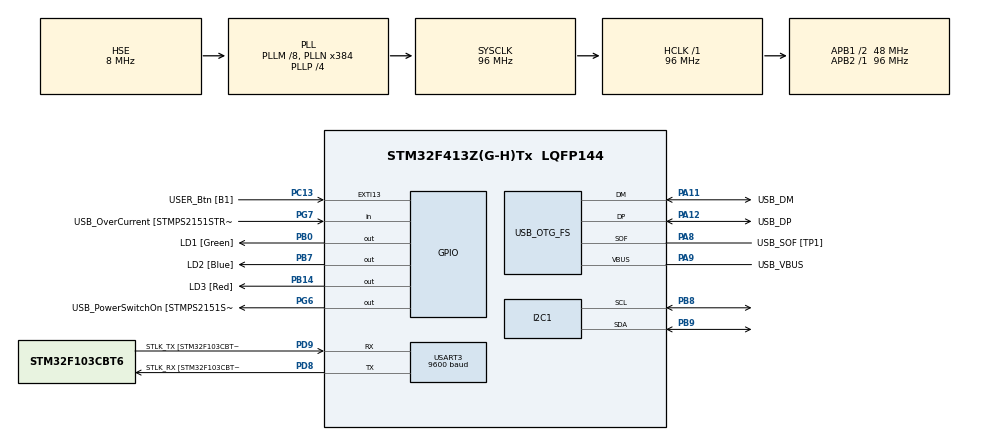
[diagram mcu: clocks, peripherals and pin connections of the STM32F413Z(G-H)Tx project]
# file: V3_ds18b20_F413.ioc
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Mcu.Family=STM32F4
Mcu.Name=STM32F413Z(G-H)Tx
Mcu.Package=LQFP144
NVIC.PriorityGroup=NVIC_PRIORITYGROUP_4
PA10.GPIO_Label=USB_ID
PA10.Signal=USB_OTG_FS_ID
PA11.GPIO_Label=USB_DM
PA11.Mode=Device_Only
PA11.Signal=USB_OTG_FS_DM
PA12.GPIO_Label=USB_DP
PA12.Mode=Device_Only
PA12.Signal=USB_OTG_FS_DP
PA13.GPIO_Label=TMS
PA13.Mode=Serial_Wire
PA13.Signal=SYS_JTMS-SWDIO
PA14.GPIO_Label=TCK
PA14.Mode=Serial_Wire
PA14.Signal=SYS_JTCK-SWCLK
PA8.GPIO_Label=USB_SOF [TP1]
PA8.Mode=Activate_SOF_FS
PA8.Signal=USB_OTG_FS_SOF
PA9.GPIO_Label=USB_VBUS
PA9.Mode=Activate_VBUS
PA9.Signal=USB_OTG_FS_VBUS
PB0.GPIO_Label=LD1 [Green]
PB0.Signal=GPIO_Output
PB14.GPIO_Label=LD3 [Red]
PB14.Signal=GPIO_Output
PB3.GPIO_Label=SWO
PB3.Signal=SYS_JTDO-SWO
PB7.GPIO_Label=LD2 [Blue]
PB7.Signal=GPIO_Output
PB8.Mode=I2C
PB8.Signal=I2C1_SCL
PB9.Mode=I2C
PB9.Signal=I2C1_SDA
PC13.GPIO_Label=USER_Btn [B1]
PC13.Signal=GPXTI13
PC14-OSC32_IN.Mode=LSE-External-Oscillator
PC14-OSC32_IN.Signal=RCC_OSC32_IN
PC15-OSC32_OUT.Mode=LSE-External-Oscillator
PC15-OSC32_OUT.Signal=RCC_OSC32_OUT
PD8.GPIO_Label=STLK_RX [STM32F103CBT6_PA3]
PD8.Mode=Asynchronous
PD8.Signal=USART3_TX
PD9.GPIO_Label=STLK_TX [STM32F103CBT6_PA2]
PD9.Mode=Asynchronous
PD9.Signal=USART3_RX
PG6.GPIO_Label=USB_PowerSwitchOn [STMPS2151STR_EN]
PG6.Signal=GPIO_Output
PG7.GPIO_Label=USB_OverCurrent [STMPS2151STR_FAULT]
PG7.Signal=GPIO_Input
PH0\ -\ OSC_IN.GPIO_Label=MCO
PH0\ -\ OSC_IN.Mode=HSE-External-Clock-Source
PH0\ -\ OSC_IN.Signal=RCC_OSC_IN
PH1\ -\ OSC_OUT.Mode=HSE-External-Clock-Source
PH1\ -\ OSC_OUT.Signal=RCC_OSC_OUT
ProjectManager.HeapSize=0x600
ProjectManager.StackSize=0x400
ProjectManager.TargetToolchain=STM32CubeIDE
RCC.48MHZClocksFreq_Value=24000000
RCC.AHBFreq_Value=96000000
RCC.APB1CLKDivider=RCC_HCLK_DIV2
RCC.APB1Freq_Value=48000000
RCC.APB1TimFreq_Value=96000000
RCC.APB2Freq_Value=96000000
RCC.APB2TimFreq_Value=96000000
RCC.CortexFreq_Value=96000000
RCC.HCLKFreq_Value=96000000
RCC.HSE_VALUE=8000000
RCC.HSI_VALUE=16000000
RCC.PLLM=8
RCC.PLLMUL=RCC_PLL_MUL9
RCC.PLLN=384
RCC.PLLP=RCC_PLLP_DIV4
RCC.PLLQ=8
RCC.PRESCALERUSB=RCC_USBCLKSOURCE_PLL_DIV1_5
RCC.SYSCLKFreq_VALUE=96000000
RCC.SYSCLKSource=RCC_SYSCLKSOURCE_PLLCLK
RCC.SYSCLKSourceVirtual=RCC_SYSCLKSOURCE_PLLCLK
RCC.USBFreq_Value=48000000
RCC.VCOOutputFreq_Value=384000000
USART3.BaudRate=9600
USART3.VirtualMode=VM_ASYNC
USB_OTG_FS.VirtualMode=Device_Only
board=NUCLEO-F413ZH

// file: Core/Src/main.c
/* USER CODE BEGIN Header */
/**
  ******************************************************************************
  * @file           : main.c
  * @brief          : Main program body
  ******************************************************************************
  * @attention
  *
  * Copyright (c) 2023 STMicroelectronics.
  * All rights reserved.
  *
  * This software is licensed under terms that can be found in the LICENSE file
  * in the root directory of this software component.
  * If no LICENSE file comes with this software, it is provided AS-IS.
  *
  ******************************************************************************
  */
/* USER CODE END Header */
#include "main.h"

/* USER CODE BEGIN Includes */
#include "API_delay.h"
#include "API_debounce.h"
#include "API_uart.h"
#include "API_LCD_I2C.h"
#include "API_usDelay.h"
#include "API_ds18b20.h"
/* USER CODE END Includes */

/* USER CODE BEGIN PD */

//===============Periodos en ms ====================
#define PERIOD_1 100
#define PERIOD_2 500
#define MENSAJE_I2C "caso1 "
#define MENSAJE_I2C_2 "caso2 "

/* USER CODE END PD */

I2C_HandleTypeDef hi2c1;

UART_HandleTypeDef huart3;

PCD_HandleTypeDef hpcd_USB_OTG_FS;

/* USER CODE BEGIN PV */

/* =============== Variables Definitions ====================== */
bool_t periodFlag = false;   //Bandera para conmutar entre DOS valores de Periodos
delay_t ledTimed;				//Estructura de temporizacion

bool_t  inicioUart;
char uartString[50]=" ";
char tempChar;
uint8_t	myTemp=0;

uint8_t check=2;
uint8_t  temp_l;
uint8_t  temp_h;
uint16_t temp;
float temperature=0;

/* ============================================================ */

/* USER CODE END PV */

void SystemClock_Config(void);
static void MX_GPIO_Init(void);
static void MX_USART3_UART_Init(void);
static void MX_USB_OTG_FS_PCD_Init(void);
static void MX_I2C1_Init(void);

int main(void)
{

  /* MCU Configuration--------------------------------------------------------*/

  /* Reset of all peripherals, Initializes the Flash interface and the Systick. */
  HAL_Init();

  /* USER CODE BEGIN Init */

  /* ========== Init func ========== */
	BSP_LED_Init(LED2);			// Se nicializa el LED2 onboard a traves de funciones de BSP

	debounceFSM_init();			// Se inicializa la maquina de estados del antirrebote de pulsador

	delayInit(&ledTimed, PERIOD_1);		// Se inicializa la estructura de temporizacion
  /* =========================================== */

  /* USER CODE END Init */

  /* Configure the system clock */
  SystemClock_Config();

  /* Initialize all configured peripherals */
  MX_GPIO_Init();
  MX_USART3_UART_Init();
  MX_USB_OTG_FS_PCD_Init();
  MX_I2C1_Init();
  /* USER CODE BEGIN 2 */

  inicioUart = uartInit();			//inicializacion de la uart y captura de inicializacion correcta/incorrecta
  if (!inicioUart)
  {
	  ErrorHandler();			// en caso de inicializacion incorrecta se llava a la funcion de reporte de error
  }

  lcd_begin ();
  lcd_init ();
  DWT_Delay_Init();
  //MX_GPIO_Init();

  /* USER CODE END 2 */

  /* Infinite loop */
  /* USER CODE BEGIN WHILE */
  while (1)
  {
	  debounceFSM_update();		// actualiza la maquina de estados del antirrebote de pulsador

		check = ds18b20_init ();
		write (0xCC);  // skip ROM
		write (0x44);  // convert t

		HAL_Delay (800);

		ds18b20_init ();
		write (0xCC);  // skip ROM
		write (0xBE);  // Read Scratchpad

		temp_l = read();
		temp_h = read();
		temp = (temp_h<<8)|temp_l;
		temperature = (float)temp/16;

	  sprintf(uartString, "%3.3f\n\r",temperature);
	  //DWT_Delay_us(42);

	 	  	  if(readKey())							// ante la ocurrencia del preionado del pulsador se cambi el periodo del parpadeo de leds
	 	  	  	  {
	 	  		  	  if(periodFlag)					// una bandera se utiliza para conmutar el cambio de periodos de parpadeo
	 	  		  	  	  {
	 	  		  		  	  periodFlag=false;
	 	  		  		  	  delayWrite(&ledTimed, PERIOD_1);
	 	  		  		  	  //lcd_send_string (MENSAJE_I2C);
	 	  		  	  	  }
	 	  		  	  else
	 	  		  	  	  {
	 	  		  		  	  periodFlag=true;
	 	  		  			  delayWrite(&ledTimed, PERIOD_2);
	 	  		  			  //lcd_send_string (MENSAJE_I2C_2);
	 	  		  	  	  }
	 	  	  	  }

	 	  	  if(delayRead(&ledTimed))		// la funcion de temporizacion permite la inversion de estao de enciendido del led
	 	  	  	  {
	 	  		  	BSP_LED_Toggle(LED2);
	 	  		  	uartSendString((uint8_t *) uartString);
	 	  		  	lcd_send_string (MENSAJE_I2C);
	 	  		  	myTemp++;
	 	  		  	if(myTemp>250) myTemp=0;
	 	  	  	  }
	 //lcd_send_string (MENSAJE_I2C);
    /* USER CODE END WHILE */

  }
}

void SystemClock_Config(void)
{
  RCC_OscInitTypeDef RCC_OscInitStruct = {0};
  RCC_ClkInitTypeDef RCC_ClkInitStruct = {0};

  /** Configure the main internal regulator output voltage
  */
  __HAL_RCC_PWR_CLK_ENABLE();
  __HAL_PWR_VOLTAGESCALING_CONFIG(PWR_REGULATOR_VOLTAGE_SCALE1);

  /** Initializes the RCC Oscillators according to the specified parameters
  * in the RCC_OscInitTypeDef structure.
  */
  RCC_OscInitStruct.OscillatorType = RCC_OSCILLATORTYPE_HSE;
  RCC_OscInitStruct.HSEState = RCC_HSE_BYPASS;
  RCC_OscInitStruct.PLL.PLLState = RCC_PLL_ON;
  RCC_OscInitStruct.PLL.PLLSource = RCC_PLLSOURCE_HSE;
  RCC_OscInitStruct.PLL.PLLM = 8;
  RCC_OscInitStruct.PLL.PLLN = 384;
  RCC_OscInitStruct.PLL.PLLP = RCC_PLLP_DIV4;
  RCC_OscInitStruct.PLL.PLLQ = 8;
  RCC_OscInitStruct.PLL.PLLR = 2;
  if (HAL_RCC_OscConfig(&RCC_OscInitStruct) != HAL_OK)
  {
    Error_Handler();
  }

  /** Initializes the CPU, AHB and APB buses clocks
  */
  RCC_ClkInitStruct.ClockType = RCC_CLOCKTYPE_HCLK|RCC_CLOCKTYPE_SYSCLK
                              |RCC_CLOCKTYPE_PCLK1|RCC_CLOCKTYPE_PCLK2;
  RCC_ClkInitStruct.SYSCLKSource = RCC_SYSCLKSOURCE_PLLCLK;
  RCC_ClkInitStruct.AHBCLKDivider = RCC_SYSCLK_DIV1;
  RCC_ClkInitStruct.APB1CLKDivider = RCC_HCLK_DIV2;
  RCC_ClkInitStruct.APB2CLKDivider = RCC_HCLK_DIV1;

  if (HAL_RCC_ClockConfig(&RCC_ClkInitStruct, FLASH_LATENCY_3) != HAL_OK)
  {
    Error_Handler();
  }
}

static void MX_I2C1_Init(void)
{

  hi2c1.Instance = I2C1;
  hi2c1.Init.ClockSpeed = 100000;
  hi2c1.Init.DutyCycle = I2C_DUTYCYCLE_2;
  hi2c1.Init.OwnAddress1 = 0;
  hi2c1.Init.AddressingMode = I2C_ADDRESSINGMODE_7BIT;
  hi2c1.Init.DualAddressMode = I2C_DUALADDRESS_DISABLE;
  hi2c1.Init.OwnAddress2 = 0;
  hi2c1.Init.GeneralCallMode = I2C_GENERALCALL_DISABLE;
  hi2c1.Init.NoStretchMode = I2C_NOSTRETCH_DISABLE;
  if (HAL_I2C_Init(&hi2c1) != HAL_OK)
  {
    Error_Handler();
  }

}

static void MX_USART3_UART_Init(void)
{

  huart3.Instance = USART3;
  huart3.Init.BaudRate = 9600;
  huart3.Init.WordLength = UART_WORDLENGTH_8B;
  huart3.Init.StopBits = UART_STOPBITS_1;
  huart3.Init.Parity = UART_PARITY_NONE;
  huart3.Init.Mode = UART_MODE_TX_RX;
  huart3.Init.HwFlowCtl = UART_HWCONTROL_NONE;
  huart3.Init.OverSampling = UART_OVERSAMPLING_16;
  if (HAL_UART_Init(&huart3) != HAL_OK)
  {
    Error_Handler();
  }

}

static void MX_USB_OTG_FS_PCD_Init(void)
{

  hpcd_USB_OTG_FS.Instance = USB_OTG_FS;
  hpcd_USB_OTG_FS.Init.dev_endpoints = 6;
  hpcd_USB_OTG_FS.Init.speed = PCD_SPEED_FULL;
  hpcd_USB_OTG_FS.Init.dma_enable = DISABLE;
  hpcd_USB_OTG_FS.Init.phy_itface = PCD_PHY_EMBEDDED;
  hpcd_USB_OTG_FS.Init.Sof_enable = ENABLE;
  hpcd_USB_OTG_FS.Init.low_power_enable = DISABLE;
  hpcd_USB_OTG_FS.Init.lpm_enable = DISABLE;
  hpcd_USB_OTG_FS.Init.battery_charging_enable = ENABLE;
  hpcd_USB_OTG_FS.Init.vbus_sensing_enable = ENABLE;
  hpcd_USB_OTG_FS.Init.use_dedicated_ep1 = DISABLE;
  if (HAL_PCD_Init(&hpcd_USB_OTG_FS) != HAL_OK)
  {
    Error_Handler();
  }

}

static void MX_GPIO_Init(void)
{
  GPIO_InitTypeDef GPIO_InitStruct = {0};

  /* GPIO Ports Clock Enable */
  __HAL_RCC_GPIOC_CLK_ENABLE();
  __HAL_RCC_GPIOH_CLK_ENABLE();
  __HAL_RCC_GPIOB_CLK_ENABLE();
  __HAL_RCC_GPIOD_CLK_ENABLE();
  __HAL_RCC_GPIOG_CLK_ENABLE();
  __HAL_RCC_GPIOA_CLK_ENABLE();

  /*Configure GPIO pin Output Level */
  HAL_GPIO_WritePin(GPIOB, LD1_Pin|LD3_Pin|LD2_Pin, GPIO_PIN_RESET);

  /*Configure GPIO pin Output Level */
  HAL_GPIO_WritePin(USB_PowerSwitchOn_GPIO_Port, USB_PowerSwitchOn_Pin, GPIO_PIN_RESET);

  /*Configure GPIO pin : USER_Btn_Pin */
  GPIO_InitStruct.Pin = USER_Btn_Pin;
  GPIO_InitStruct.Mode = GPIO_MODE_IT_RISING;
  GPIO_InitStruct.Pull = GPIO_NOPULL;
  HAL_GPIO_Init(USER_Btn_GPIO_Port, &GPIO_InitStruct);

  /*Configure GPIO pins : LD1_Pin LD3_Pin LD2_Pin */
  GPIO_InitStruct.Pin = LD1_Pin|LD3_Pin|LD2_Pin;
  GPIO_InitStruct.Mode = GPIO_MODE_OUTPUT_PP;
  GPIO_InitStruct.Pull = GPIO_NOPULL;
  GPIO_InitStruct.Speed = GPIO_SPEED_FREQ_LOW;
  HAL_GPIO_Init(GPIOB, &GPIO_InitStruct);

  /*Configure GPIO pin : USB_PowerSwitchOn_Pin */
  GPIO_InitStruct.Pin = USB_PowerSwitchOn_Pin;
  GPIO_InitStruct.Mode = GPIO_MODE_OUTPUT_PP;
  GPIO_InitStruct.Pull = GPIO_NOPULL;
  GPIO_InitStruct.Speed = GPIO_SPEED_FREQ_LOW;
  HAL_GPIO_Init(USB_PowerSwitchOn_GPIO_Port, &GPIO_InitStruct);

  /*Configure GPIO pin : USB_OverCurrent_Pin */
  GPIO_InitStruct.Pin = USB_OverCurrent_Pin;
  GPIO_InitStruct.Mode = GPIO_MODE_INPUT;
  GPIO_InitStruct.Pull = GPIO_NOPULL;
  HAL_GPIO_Init(USB_OverCurrent_GPIO_Port, &GPIO_InitStruct);

}

void Error_Handler(void)
{
  /* USER CODE BEGIN Error_Handler_Debug */
  /* User can add his own implementation to report the HAL error return state */
  /* Si un error ocurre el USER LED RED permanece encendido*/
	HAL_GPIO_WritePin(GPIOB, LD3_Pin, GPIO_PIN_SET);
  __disable_irq();
  while (1)
  {
  }
  /* USER CODE END Error_Handler_Debug */
}
